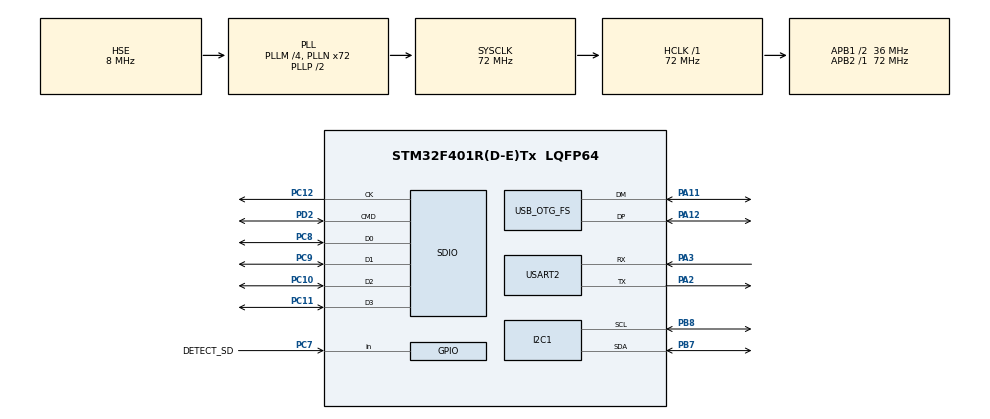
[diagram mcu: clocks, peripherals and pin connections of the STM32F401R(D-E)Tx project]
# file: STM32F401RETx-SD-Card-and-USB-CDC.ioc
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FATFS.BSP.number=1
FATFS._MAX_SS=4096
FATFS0.BSP.STBoard=false
FATFS0.BSP.api=Unknown
FATFS0.BSP.i2caddr=0
FATFS0.BSP.instance=PC7
FATFS0.BSP.ip=GPIO
FATFS0.BSP.mode=Input
FATFS0.BSP.name=Detect_SDIO
FATFS0.BSP.solution=PC7
Mcu.Family=STM32F4
Mcu.Name=STM32F401R(D-E)Tx
Mcu.Package=LQFP64
NVIC.OTG_FS_IRQn=true\:0\:0\:false\:false\:true\:false\:true
NVIC.PriorityGroup=NVIC_PRIORITYGROUP_4
PA11.Mode=Device_Only
PA11.Signal=USB_OTG_FS_DM
PA12.Mode=Device_Only
PA12.Signal=USB_OTG_FS_DP
PA13.Mode=Serial_Wire
PA13.Signal=SYS_JTMS-SWDIO
PA14.Mode=Serial_Wire
PA14.Signal=SYS_JTCK-SWCLK
PA2.Mode=Asynchronous
PA2.Signal=USART2_TX
PA3.Mode=Asynchronous
PA3.Signal=USART2_RX
PB7.Mode=I2C
PB7.Signal=I2C1_SDA
PB8.Mode=I2C
PB8.Signal=I2C1_SCL
PC10.Mode=SD_4_bits_Wide_bus
PC10.Signal=SDIO_D2
PC11.Mode=SD_4_bits_Wide_bus
PC11.Signal=SDIO_D3
PC12.Mode=SD_4_bits_Wide_bus
PC12.Signal=SDIO_CK
PC7.GPIO_Label=DETECT_SD
PC7.Signal=GPIO_Input
PC8.Mode=SD_4_bits_Wide_bus
PC8.Signal=SDIO_D0
PC9.Mode=SD_4_bits_Wide_bus
PC9.Signal=SDIO_D1
PD2.Mode=SD_4_bits_Wide_bus
PD2.Signal=SDIO_CMD
PH0\ -\ OSC_IN.Mode=HSE-External-Oscillator
PH0\ -\ OSC_IN.Signal=RCC_OSC_IN
PH1\ -\ OSC_OUT.Mode=HSE-External-Oscillator
PH1\ -\ OSC_OUT.Signal=RCC_OSC_OUT
ProjectManager.HeapSize=0x200
ProjectManager.StackSize=0x400
ProjectManager.TargetToolchain=STM32CubeIDE
RCC.48MHZClocksFreq_Value=48000000
RCC.AHBFreq_Value=72000000
RCC.APB1CLKDivider=RCC_HCLK_DIV2
RCC.APB1Freq_Value=36000000
RCC.APB1TimFreq_Value=72000000
RCC.APB2Freq_Value=72000000
RCC.APB2TimFreq_Value=72000000
RCC.CortexFreq_Value=72000000
RCC.HCLKFreq_Value=72000000
RCC.HSE_VALUE=8000000
RCC.HSI_VALUE=16000000
RCC.LSE_VALUE=32768
RCC.PLLM=4
RCC.PLLN=72
RCC.PLLQ=3
RCC.SYSCLKFreq_VALUE=72000000
RCC.SYSCLKSource=RCC_SYSCLKSOURCE_PLLCLK
RCC.VCOOutputFreq_Value=144000000
SDIO.ClockDiv=12
SDIO.HardwareFlowControl=SDIO_HARDWARE_FLOW_CONTROL_DISABLE
USART2.VirtualMode=VM_ASYNC
USB_DEVICE.CLASS_NAME_FS=CDC
USB_DEVICE.MANUFACTURER_STRING-CDC_FS=WhiteRabbit
USB_DEVICE.PID_CDC_FS=42069
USB_DEVICE.PRODUCT_STRING_CDC_FS=Special Logger
USB_DEVICE.VirtualMode-CDC_FS=Cdc
USB_DEVICE.VirtualModeFS=Cdc_FS
USB_OTG_FS.VirtualMode=Device_Only
VP_FATFS_VS_SDIO.Mode=SDIO
VP_USB_DEVICE_VS_USB_DEVICE_CDC_FS.Mode=CDC_FS
board=custom

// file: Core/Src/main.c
/* USER CODE BEGIN Header */
/**
  ******************************************************************************
  * @file           : main.c
  * @brief          : Main program body
  ******************************************************************************
  * @attention
  *
  * Copyright (c) 2022 STMicroelectronics.
  * All rights reserved.
  *
  * This software is licensed under terms that can be found in the LICENSE file
  * in the root directory of this software component.
  * If no LICENSE file comes with this software, it is provided AS-IS.
  *
  ******************************************************************************
  */
/* USER CODE END Header */
#include <sd_card.h>
#include "main.h"
#include "fatfs.h"
#include "usb_device.h"

/* USER CODE BEGIN Includes */
#include "usbd_cdc_if.h"
/* USER CODE END Includes */

I2C_HandleTypeDef hi2c1;

SD_HandleTypeDef hsd;

UART_HandleTypeDef huart2;

void SystemClock_Config(void);
static void MX_GPIO_Init(void);
static void MX_SDIO_SD_Init(void);
static void MX_I2C1_Init(void);
static void MX_USART2_UART_Init(void);

/* USER CODE BEGIN 0 */
char buffer[100];
int counter = 0;
FRESULT result;
uint8_t usbBuffer[] = "Hello USB!\n\r";
uint8_t debugBuffer[] = "Hello Debugger!\n\r";

int Debug_write(uint8_t * pointer, uint16_t length) {
	uint16_t i;

	for (i = 0; i < length; i++) {
		ITM_SendChar(*pointer++);
	}

	return i;
}

void SDCard_debug(char *log) {
	HAL_UART_Transmit(&huart2, (uint8_t *)log, strlen(log), HAL_MAX_DELAY);
}
/* USER CODE END 0 */

int main(void)
{

  /* MCU Configuration--------------------------------------------------------*/

  /* Reset of all peripherals, Initializes the Flash interface and the Systick. */
  HAL_Init();

  /* Configure the system clock */
  SystemClock_Config();

  /* Initialize all configured peripherals */
  MX_GPIO_Init();
  MX_SDIO_SD_Init();
  MX_FATFS_Init();
  MX_I2C1_Init();
  MX_USART2_UART_Init();
  MX_USB_DEVICE_Init();
  /* USER CODE BEGIN 2 */
//  uint8_t maxItems = 5;
//  uint8_t maxPathLength = 30;
//  char scanOutput[maxItems][maxPathLength];
  SDCard_capacity capacity = {0};

  SDCard_mount("/");
//  SDCard_scanFolder("/", maxItems, maxPathLength, scanOutput);
  SDCard_checkCapacity(&capacity);
  result = SDCard_createFile("FILE1.TXT");

  if (result != FR_OK) {
	  Error_Handler();
  }

  result = SDCard_createFile("FILE2.TXT");

  if (result != FR_OK) {
	  Error_Handler();
  }

  SDCard_unmount("/");

  /* USER CODE END 2 */

  /* Infinite loop */
  while (1)
  {

    /* USER CODE BEGIN 3 */
	SDCard_mount("/");
	sprintf(buffer, "Hello ---> %d\n", counter);
	result = SDCard_updateFile("FILE1.TXT", buffer);

	if (result != FR_OK) {
		Error_Handler();
	}

	sprintf(buffer, "world ---> %d\n", counter);
	result = SDCard_updateFile("FILE2.TXT", buffer);

	if (result != FR_OK) {
		Error_Handler();
	}

	SDCard_unmount("/");

	counter++;

	// Only works if the debug line connected to STLink
    Debug_write(debugBuffer, sizeof(debugBuffer));

    // Sending data via USB CDC
	CDC_Transmit_FS(usbBuffer, sizeof(usbBuffer));

	HAL_Delay(2000);
  }
  /* USER CODE END 3 */
}

void SystemClock_Config(void)
{
  RCC_OscInitTypeDef RCC_OscInitStruct = {0};
  RCC_ClkInitTypeDef RCC_ClkInitStruct = {0};

  /** Configure the main internal regulator output voltage
  */
  __HAL_RCC_PWR_CLK_ENABLE();
  __HAL_PWR_VOLTAGESCALING_CONFIG(PWR_REGULATOR_VOLTAGE_SCALE2);
  /** Initializes the RCC Oscillators according to the specified parameters
  * in the RCC_OscInitTypeDef structure.
  */
  RCC_OscInitStruct.OscillatorType = RCC_OSCILLATORTYPE_HSE;
  RCC_OscInitStruct.HSEState = RCC_HSE_ON;
  RCC_OscInitStruct.PLL.PLLState = RCC_PLL_ON;
  RCC_OscInitStruct.PLL.PLLSource = RCC_PLLSOURCE_HSE;
  RCC_OscInitStruct.PLL.PLLM = 4;
  RCC_OscInitStruct.PLL.PLLN = 72;
  RCC_OscInitStruct.PLL.PLLP = RCC_PLLP_DIV2;
  RCC_OscInitStruct.PLL.PLLQ = 3;
  if (HAL_RCC_OscConfig(&RCC_OscInitStruct) != HAL_OK)
  {
    Error_Handler();
  }
  /** Initializes the CPU, AHB and APB buses clocks
  */
  RCC_ClkInitStruct.ClockType = RCC_CLOCKTYPE_HCLK|RCC_CLOCKTYPE_SYSCLK
                              |RCC_CLOCKTYPE_PCLK1|RCC_CLOCKTYPE_PCLK2;
  RCC_ClkInitStruct.SYSCLKSource = RCC_SYSCLKSOURCE_PLLCLK;
  RCC_ClkInitStruct.AHBCLKDivider = RCC_SYSCLK_DIV1;
  RCC_ClkInitStruct.APB1CLKDivider = RCC_HCLK_DIV2;
  RCC_ClkInitStruct.APB2CLKDivider = RCC_HCLK_DIV1;

  if (HAL_RCC_ClockConfig(&RCC_ClkInitStruct, FLASH_LATENCY_2) != HAL_OK)
  {
    Error_Handler();
  }
}

static void MX_I2C1_Init(void)
{

  hi2c1.Instance = I2C1;
  hi2c1.Init.ClockSpeed = 100000;
  hi2c1.Init.DutyCycle = I2C_DUTYCYCLE_2;
  hi2c1.Init.OwnAddress1 = 0;
  hi2c1.Init.AddressingMode = I2C_ADDRESSINGMODE_7BIT;
  hi2c1.Init.DualAddressMode = I2C_DUALADDRESS_DISABLE;
  hi2c1.Init.OwnAddress2 = 0;
  hi2c1.Init.GeneralCallMode = I2C_GENERALCALL_DISABLE;
  hi2c1.Init.NoStretchMode = I2C_NOSTRETCH_DISABLE;
  if (HAL_I2C_Init(&hi2c1) != HAL_OK)
  {
    Error_Handler();
  }

}

static void MX_SDIO_SD_Init(void)
{

  hsd.Instance = SDIO;
  hsd.Init.ClockEdge = SDIO_CLOCK_EDGE_RISING;
  hsd.Init.ClockBypass = SDIO_CLOCK_BYPASS_DISABLE;
  hsd.Init.ClockPowerSave = SDIO_CLOCK_POWER_SAVE_DISABLE;
  hsd.Init.BusWide = SDIO_BUS_WIDE_1B;
  hsd.Init.HardwareFlowControl = SDIO_HARDWARE_FLOW_CONTROL_DISABLE;
  hsd.Init.ClockDiv = 12;

}

static void MX_USART2_UART_Init(void)
{

  huart2.Instance = USART2;
  huart2.Init.BaudRate = 115200;
  huart2.Init.WordLength = UART_WORDLENGTH_8B;
  huart2.Init.StopBits = UART_STOPBITS_1;
  huart2.Init.Parity = UART_PARITY_NONE;
  huart2.Init.Mode = UART_MODE_TX_RX;
  huart2.Init.HwFlowCtl = UART_HWCONTROL_NONE;
  huart2.Init.OverSampling = UART_OVERSAMPLING_16;
  if (HAL_UART_Init(&huart2) != HAL_OK)
  {
    Error_Handler();
  }

}

static void MX_GPIO_Init(void)
{
  GPIO_InitTypeDef GPIO_InitStruct = {0};

  /* GPIO Ports Clock Enable */
  __HAL_RCC_GPIOH_CLK_ENABLE();
  __HAL_RCC_GPIOA_CLK_ENABLE();
  __HAL_RCC_GPIOC_CLK_ENABLE();
  __HAL_RCC_GPIOD_CLK_ENABLE();
  __HAL_RCC_GPIOB_CLK_ENABLE();

  /*Configure GPIO pin : DETECT_SD_Pin */
  GPIO_InitStruct.Pin = DETECT_SD_Pin;
  GPIO_InitStruct.Mode = GPIO_MODE_INPUT;
  GPIO_InitStruct.Pull = GPIO_NOPULL;
  HAL_GPIO_Init(DETECT_SD_GPIO_Port, &GPIO_InitStruct);

}

void Error_Handler(void)
{
  __disable_irq();
  while (1)
  {
  }
}
